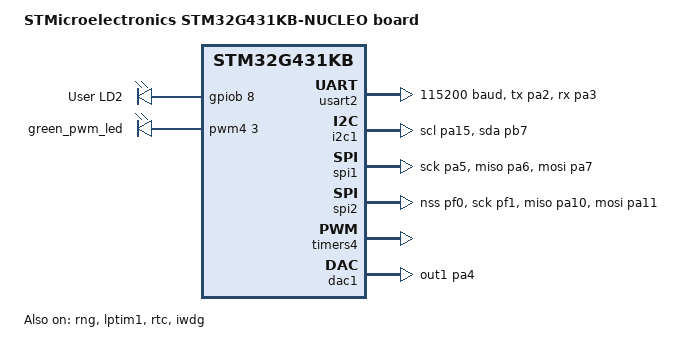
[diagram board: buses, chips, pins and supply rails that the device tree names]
/*
 * Copyright (c) 2019 Richard Osterloh <richard.osterloh@gmail.com>
 *
 * SPDX-License-Identifier: Apache-2.0
 */

/dts-v1/;
#include <st/g4/stm32g431Xb.dtsi>
#include <st/g4/stm32g431k(6-8-b)tx-pinctrl.dtsi>
#include <zephyr/dt-bindings/input/input-event-codes.h>

/ {
	model = "STMicroelectronics STM32G431KB-NUCLEO board";
	compatible = "st,stm32g431kb-nucleo";

	chosen {
		zephyr,console = &usart2;
		zephyr,shell-uart = &usart2;
		zephyr,sram = &sram0;
		zephyr,flash = &flash0;
	};

	leds: leds {
		compatible = "gpio-leds";
		green_led: led_0 {
			gpios = <&gpiob 8 GPIO_ACTIVE_HIGH>;
			label = "User LD2";
		};
	};

	pwmleds {
		compatible = "pwm-leds";

		green_pwm_led: green_pwm_led {
			pwms = <&pwm4 3 PWM_MSEC(20) PWM_POLARITY_NORMAL>;
		};
	};

	aliases {
		led0 = &green_led;
		pwm-led0 = &green_pwm_led;
		watchdog0 = &iwdg;
	};
};

&clk_lsi {
	status = "okay";
};

&clk_hsi {
	status = "okay";
};

&clk_hsi48 {
	status = "okay";
};

&pll {
	div-m = <4>;
	mul-n = <85>;
	div-p = <2>;
	div-q = <2>;
	div-r = <2>;
	clocks = <&clk_hsi>;
	status = "okay";
};

&rcc {
	clocks = <&pll>;
	clock-frequency = <DT_FREQ_M(170)>;
	ahb-prescaler = <1>;
	apb1-prescaler = <1>;
	apb2-prescaler = <1>;
};

&rng {
	clocks = <&rcc STM32_CLOCK_BUS_AHB2 0x04000000>,
		 <&rcc STM32_SRC_HSI48 CLK48_SEL(0)>;
	status = "okay";
};

&usart2 {
	pinctrl-0 = <&usart2_tx_pa2 &usart2_rx_pa3>;
	pinctrl-names = "default";
	current-speed = <115200>;
	status = "okay";
};

&i2c1 {
	pinctrl-0 = <&i2c1_scl_pa15 &i2c1_sda_pb7>;
	pinctrl-names = "default";
	status = "okay";
};

&spi1 {
	pinctrl-0 = <&spi1_sck_pa5 &spi1_miso_pa6 &spi1_mosi_pa7>;
	pinctrl-names = "default";
	cs-gpios = <&gpiob 6 (GPIO_ACTIVE_LOW | GPIO_PULL_UP)>;
	status = "okay";
};

&spi2 {
	pinctrl-0 = <&spi2_nss_pf0 &spi2_sck_pf1
		     &spi2_miso_pa10 &spi2_mosi_pa11>;
	pinctrl-names = "default";
	status = "okay";
};

&timers4 {
	st,prescaler = <10000>;
	status = "okay";
	pwm4: pwm {
		pinctrl-0 = <&tim4_ch3_pb8>;
		pinctrl-names = "default";
		status = "okay";
	};
};

stm32_lp_tick_source: &lptim1 {
	clocks = <&rcc STM32_CLOCK_BUS_APB1 0x80000000>,
		 <&rcc STM32_SRC_LSE LPTIM1_SEL(3)>;
	status = "okay";
};

&rtc {
	clocks = <&rcc STM32_CLOCK_BUS_APB1 0x00000400>,
		 <&rcc STM32_SRC_LSI RTC_SEL(2)>;
	status = "okay";
};

&flash0 {

	partitions {
		compatible = "fixed-partitions";
		#address-cells = <1>;
		#size-cells = <1>;

		/* Set 4Kb of storage at the end of the 128Kb of flash */
		storage_partition: partition@1f000 {
			label = "storage";
			reg = <0x0001f000 DT_SIZE_K(4)>;
		};
	};
};

&iwdg {
	status = "okay";
};

&dac1 {
	status = "okay";
	pinctrl-0 = <&dac1_out1_pa4>;
	pinctrl-names = "default";
};
